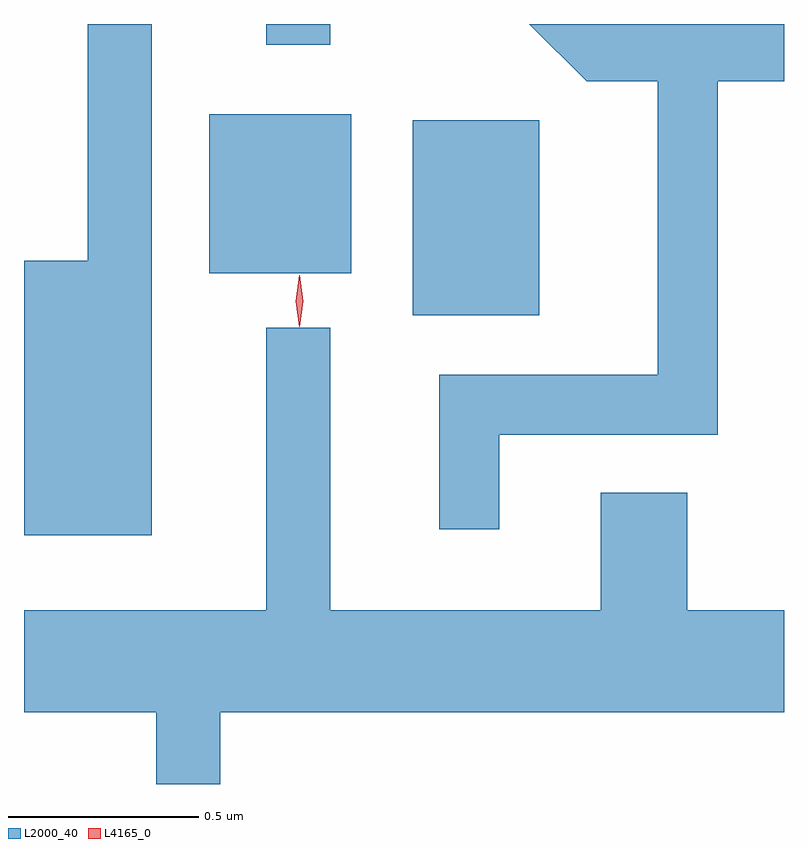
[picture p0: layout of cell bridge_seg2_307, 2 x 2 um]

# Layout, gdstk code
import gdstk
lib = gdstk.Library(unit=1e-6, precision=1e-09)
def R(c, l, rs):  # rectangles x0, y0, x1, y1
    for r in rs: c.add(gdstk.rectangle(r[:2], r[2:], *l))
def P(c, l, *ps):  # polygons
    for p in ps: c.add(gdstk.Polygon(p, *l))
L2000_40 = (2000, 40)
L4165_0 = (4165, 0)

bridge_seg2_307 = lib.new_cell('bridge_seg2_307')
R(bridge_seg2_307, L2000_40, [(446.536,1089.321,446.869,1089.834), (446.001,1089.431,446.374,1089.849), (446.151,1090.033,446.319,1090.087)])
P(bridge_seg2_307, L2000_40, [(446.764,1089.006),(447.339,1089.006),(447.339,1089.936),(447.513,1089.936),(447.513,1090.087),(446.843,1090.087),(446.994,1089.936),(447.181,1089.936),(447.181,1089.164),(446.606,1089.164),(446.606,1088.758),(446.764,1088.758)],
  [(445.849,1090.087),(445.681,1090.087),(445.681,1089.464),(445.513,1089.464),(445.513,1088.741),(445.849,1088.741)],
  [(446.029,1088.276),(447.513,1088.276),(447.513,1088.544),(447.259,1088.544),(447.259,1088.854),(447.031,1088.854),(447.031,1088.544),(446.319,1088.544),(446.319,1089.288),(446.151,1089.288),(446.151,1088.544),(445.513,1088.544),(445.513,1088.276),(445.861,1088.276),(445.861,1088.087),(446.029,1088.087)])
P(bridge_seg2_307, L4165_0, [(446.237,1089.29),(446.228,1089.358),(446.237,1089.426),(446.238,1089.426),(446.238,1089.426),(446.248,1089.358),(446.238,1089.29),(446.238,1089.29)],
  [(446.237,1089.293),(446.228,1089.357),(446.237,1089.421),(446.238,1089.422),(446.238,1089.421),(446.248,1089.357),(446.238,1089.293),(446.238,1089.293)])

lib.write_gds('bridge_seg2_307.gds')
